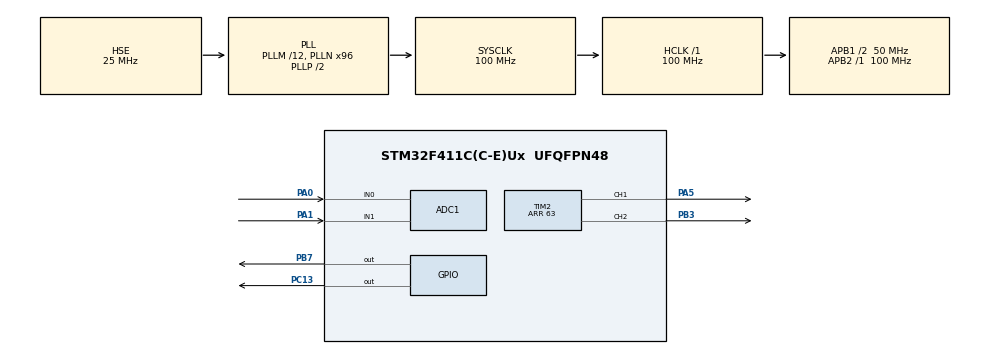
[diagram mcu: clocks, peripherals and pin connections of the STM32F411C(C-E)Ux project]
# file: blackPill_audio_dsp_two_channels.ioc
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ADC1.Channel-0\#ChannelRegularConversion=ADC_CHANNEL_0
ADC1.Channel-1\#ChannelRegularConversion=ADC_CHANNEL_1
ADC1.ContinuousConvMode=DISABLE
ADC1.DMAContinuousRequests=ENABLE
ADC1.EOCSelection=ADC_EOC_SINGLE_CONV
ADC1.ExternalTrigConv=ADC_EXTERNALTRIGCONV_T3_TRGO
ADC1.NbrOfConversion=2
ADC1.NbrOfConversionFlag=1
ADC1.Rank-0\#ChannelRegularConversion=1
ADC1.Rank-1\#ChannelRegularConversion=2
ADC1.SamplingTime-0\#ChannelRegularConversion=ADC_SAMPLETIME_144CYCLES
ADC1.SamplingTime-1\#ChannelRegularConversion=ADC_SAMPLETIME_144CYCLES
ADC1.ScanConvMode=ENABLE
ADC1.master=1
Dma.ADC1.0.Direction=DMA_PERIPH_TO_MEMORY
Dma.ADC1.0.FIFOMode=DMA_FIFOMODE_DISABLE
Dma.ADC1.0.Instance=DMA2_Stream0
Dma.ADC1.0.MemDataAlignment=DMA_MDATAALIGN_HALFWORD
Dma.ADC1.0.MemInc=DMA_MINC_ENABLE
Dma.ADC1.0.Mode=DMA_CIRCULAR
Dma.ADC1.0.PeriphDataAlignment=DMA_PDATAALIGN_HALFWORD
Dma.ADC1.0.PeriphInc=DMA_PINC_DISABLE
Dma.ADC1.0.Priority=DMA_PRIORITY_LOW
Dma.Request0=ADC1
Mcu.Family=STM32F4
Mcu.Name=STM32F411C(C-E)Ux
Mcu.Package=UFQFPN48
NVIC.DMA2_Stream0_IRQn=true\:0\:0\:false\:false\:true\:false\:true\:true
NVIC.PriorityGroup=NVIC_PRIORITYGROUP_4
NVIC.TIM3_IRQn=true\:0\:0\:false\:false\:true\:true\:true\:true
PA0-WKUP.Signal=ADCx_IN0
PA1.Signal=ADCx_IN1
PA13.Mode=Serial_Wire
PA13.Signal=SYS_JTMS-SWDIO
PA14.Mode=Serial_Wire
PA14.Signal=SYS_JTCK-SWCLK
PA3.Signal=ADCx_IN3
PA5.Signal=S_TIM2_CH1_ETR
PB3.Signal=S_TIM2_CH2
PB7.Signal=GPIO_Output
PC13-ANTI_TAMP.Signal=GPIO_Output
PC14-OSC32_IN.Mode=LSE-External-Oscillator
PC14-OSC32_IN.Signal=RCC_OSC32_IN
PC15-OSC32_OUT.Mode=LSE-External-Oscillator
PC15-OSC32_OUT.Signal=RCC_OSC32_OUT
PH0\ -\ OSC_IN.Mode=HSE-External-Oscillator
PH0\ -\ OSC_IN.Signal=RCC_OSC_IN
PH1\ -\ OSC_OUT.Mode=HSE-External-Oscillator
PH1\ -\ OSC_OUT.Signal=RCC_OSC_OUT
ProjectManager.HeapSize=0x200
ProjectManager.StackSize=0x400
ProjectManager.TargetToolchain=STM32CubeIDE
RCC.48MHZClocksFreq_Value=50000000
RCC.AHBFreq_Value=100000000
RCC.APB1CLKDivider=RCC_HCLK_DIV2
RCC.APB1Freq_Value=50000000
RCC.APB1TimFreq_Value=100000000
RCC.APB2Freq_Value=100000000
RCC.APB2TimFreq_Value=100000000
RCC.CortexFreq_Value=100000000
RCC.HCLKFreq_Value=100000000
RCC.HSE_VALUE=25000000
RCC.HSI_VALUE=16000000
RCC.PLLM=12
RCC.PLLN=96
RCC.PLLSourceVirtual=RCC_PLLSOURCE_HSE
RCC.SYSCLKFreq_VALUE=100000000
RCC.SYSCLKSource=RCC_SYSCLKSOURCE_PLLCLK
RCC.VCOOutputFreq_Value=200000000
SH.ADCx_IN0.0=ADC1_IN0,IN0
SH.ADCx_IN1.0=ADC1_IN1,IN1
SH.ADCx_IN3.0=ADC1_IN3
SH.S_TIM2_CH1_ETR.0=TIM2_CH1,PWM Generation1 CH1
SH.S_TIM2_CH2.0=TIM2_CH2,PWM Generation2 CH2
STMicroelectronics.X-CUBE-ALGOBUILD.1.4.0.LibraryCcDSPOoLibraryJjDSPOoLibrary=true
TIM2.Channel-PWM\ Generation1\ CH1=TIM_CHANNEL_1
TIM2.Channel-PWM\ Generation2\ CH2=TIM_CHANNEL_2
TIM2.Period=63
TIM3.Channel-PWM\ Generation1\ No\ Output=TIM_CHANNEL_1
TIM3.Period=999
TIM3.Prescaler=3
TIM3.TIM_MasterOutputTrigger=TIM_TRGO_UPDATE
VP_STMicroelectronics.X-CUBE-ALGOBUILD_VS_DSPOoLibraryJjLibrary_1.4.0_1.4.0.Mode=DSPOoLibraryJjLibrary
VP_TIM2_VS_ClockSourceINT.Mode=Internal
VP_TIM3_VS_ClockSourceINT.Mode=Internal
VP_TIM3_VS_no_output1.Mode=PWM Generation1 No Output
board=custom

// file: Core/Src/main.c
/* USER CODE BEGIN Header */
/**
  ******************************************************************************
  * @file           : main.c
  * @brief          : Main program body
  ******************************************************************************
  * @attention
  *
  * Copyright (c) 2024 STMicroelectronics.
  * All rights reserved.
  *
  * This software is licensed under terms that can be found in the LICENSE file
  * in the root directory of this software component.
  * If no LICENSE file comes with this software, it is provided AS-IS.
  *
  ******************************************************************************
  */
/* USER CODE END Header */
#include "main.h"

/* USER CODE BEGIN Includes */

#include "arm_math.h"
#include <stdbool.h>

/* USER CODE END Includes */

/* USER CODE BEGIN PD */

#define BUFFER_SIZE 128

/* USER CODE END PD */

ADC_HandleTypeDef hadc1;
DMA_HandleTypeDef hdma_adc1;

TIM_HandleTypeDef htim2;
TIM_HandleTypeDef htim3;

/* USER CODE BEGIN PV */

uint16_t adc_buffer[BUFFER_SIZE * 2]; //Factor two because of two ADC channels
uint16_t dac_buffer[BUFFER_SIZE];

static volatile uint16_t dac_curr_sample_pos;

static volatile uint16_t* adc_process_ptr;
static volatile uint16_t* dac_process_ptr;
static volatile bool adc_process;

q15_t filter1_in[BUFFER_SIZE / 2];
q15_t filter1_out[BUFFER_SIZE / 2];

q15_t filter2_in[BUFFER_SIZE / 2];
q15_t filter2_out[BUFFER_SIZE / 2];

/* USER CODE END PV */

void SystemClock_Config(void);
static void MX_GPIO_Init(void);
static void MX_DMA_Init(void);
static void MX_ADC1_Init(void);
static void MX_TIM2_Init(void);
static void MX_TIM3_Init(void);
/* USER CODE BEGIN PFP */

void process_data();
q15_t convert_adc_to_q15(uint16_t input);
uint16_t convert_q15_to_dac(q15_t input);

/* USER CODE END PFP */

int main(void)
{

  /* USER CODE BEGIN 1 */

	//Clearing the buffers
	for(uint16_t i = 0; i < BUFFER_SIZE * 2; i++)
	{
		adc_buffer[i] = 0;
	}

	for(uint16_t i = 0; i < BUFFER_SIZE; i++)
	{
		dac_buffer[i] = 0;
	}

	//Setting position of the DAC's current sample to the beginning of the buffer's lower half
	dac_curr_sample_pos = BUFFER_SIZE / 2;

	//Resetting the flag for processing the ADC buffer
	adc_process = false;

  /* USER CODE END 1 */

  /* MCU Configuration--------------------------------------------------------*/

  /* Reset of all peripherals, Initializes the Flash interface and the Systick. */
  HAL_Init();

  /* Configure the system clock */
  SystemClock_Config();

  /* Initialize all configured peripherals */
  MX_GPIO_Init();
  MX_DMA_Init();
  MX_ADC1_Init();
  MX_TIM2_Init();
  MX_TIM3_Init();
  /* USER CODE BEGIN 2 */

  //Turning off the on-board LED (inverted)
  HAL_GPIO_WritePin(GPIOC, GPIO_PIN_13, 1);

  //Starting ADC1 with DMA
  HAL_ADC_Start_DMA(&hadc1, (uint32_t*) adc_buffer, BUFFER_SIZE * 2);

  //Starting TIM3 (triggering conversions and data transfer) with interrupts
  HAL_TIM_Base_Start_IT(&htim3);

  //Starting TIM2 (PWM generation)
  HAL_TIM_PWM_Start(&htim2, TIM_CHANNEL_1);
  HAL_TIM_PWM_Start(&htim2, TIM_CHANNEL_2);

  /* USER CODE END 2 */

  /* Infinite loop */
  /* USER CODE BEGIN WHILE */
  while (1)
  {
	if(adc_process == true)
	{
		HAL_GPIO_WritePin(GPIOB, GPIO_PIN_7, 1);

		process_data();
		adc_process = false;

		HAL_GPIO_WritePin(GPIOB, GPIO_PIN_7, 0);
	}
    /* USER CODE END WHILE */

  }
}

void SystemClock_Config(void)
{
  RCC_OscInitTypeDef RCC_OscInitStruct = {0};
  RCC_ClkInitTypeDef RCC_ClkInitStruct = {0};

  /** Configure the main internal regulator output voltage
  */
  __HAL_RCC_PWR_CLK_ENABLE();
  __HAL_PWR_VOLTAGESCALING_CONFIG(PWR_REGULATOR_VOLTAGE_SCALE1);

  /** Initializes the RCC Oscillators according to the specified parameters
  * in the RCC_OscInitTypeDef structure.
  */
  RCC_OscInitStruct.OscillatorType = RCC_OSCILLATORTYPE_HSE;
  RCC_OscInitStruct.HSEState = RCC_HSE_ON;
  RCC_OscInitStruct.PLL.PLLState = RCC_PLL_ON;
  RCC_OscInitStruct.PLL.PLLSource = RCC_PLLSOURCE_HSE;
  RCC_OscInitStruct.PLL.PLLM = 12;
  RCC_OscInitStruct.PLL.PLLN = 96;
  RCC_OscInitStruct.PLL.PLLP = RCC_PLLP_DIV2;
  RCC_OscInitStruct.PLL.PLLQ = 4;
  if (HAL_RCC_OscConfig(&RCC_OscInitStruct) != HAL_OK)
  {
    Error_Handler();
  }

  /** Initializes the CPU, AHB and APB buses clocks
  */
  RCC_ClkInitStruct.ClockType = RCC_CLOCKTYPE_HCLK|RCC_CLOCKTYPE_SYSCLK
                              |RCC_CLOCKTYPE_PCLK1|RCC_CLOCKTYPE_PCLK2;
  RCC_ClkInitStruct.SYSCLKSource = RCC_SYSCLKSOURCE_PLLCLK;
  RCC_ClkInitStruct.AHBCLKDivider = RCC_SYSCLK_DIV1;
  RCC_ClkInitStruct.APB1CLKDivider = RCC_HCLK_DIV2;
  RCC_ClkInitStruct.APB2CLKDivider = RCC_HCLK_DIV1;

  if (HAL_RCC_ClockConfig(&RCC_ClkInitStruct, FLASH_LATENCY_3) != HAL_OK)
  {
    Error_Handler();
  }
}

static void MX_ADC1_Init(void)
{

  ADC_ChannelConfTypeDef sConfig = {0};

  /** Configure the global features of the ADC (Clock, Resolution, Data Alignment and number of conversion)
  */
  hadc1.Instance = ADC1;
  hadc1.Init.ClockPrescaler = ADC_CLOCK_SYNC_PCLK_DIV4;
  hadc1.Init.Resolution = ADC_RESOLUTION_12B;
  hadc1.Init.ScanConvMode = ENABLE;
  hadc1.Init.ContinuousConvMode = DISABLE;
  hadc1.Init.DiscontinuousConvMode = DISABLE;
  hadc1.Init.ExternalTrigConvEdge = ADC_EXTERNALTRIGCONVEDGE_RISING;
  hadc1.Init.ExternalTrigConv = ADC_EXTERNALTRIGCONV_T3_TRGO;
  hadc1.Init.DataAlign = ADC_DATAALIGN_RIGHT;
  hadc1.Init.NbrOfConversion = 2;
  hadc1.Init.DMAContinuousRequests = ENABLE;
  hadc1.Init.EOCSelection = ADC_EOC_SINGLE_CONV;
  if (HAL_ADC_Init(&hadc1) != HAL_OK)
  {
    Error_Handler();
  }

  /** Configure for the selected ADC regular channel its corresponding rank in the sequencer and its sample time.
  */
  sConfig.Channel = ADC_CHANNEL_0;
  sConfig.Rank = 1;
  sConfig.SamplingTime = ADC_SAMPLETIME_144CYCLES;
  if (HAL_ADC_ConfigChannel(&hadc1, &sConfig) != HAL_OK)
  {
    Error_Handler();
  }

  /** Configure for the selected ADC regular channel its corresponding rank in the sequencer and its sample time.
  */
  sConfig.Channel = ADC_CHANNEL_1;
  sConfig.Rank = 2;
  if (HAL_ADC_ConfigChannel(&hadc1, &sConfig) != HAL_OK)
  {
    Error_Handler();
  }

}

static void MX_TIM2_Init(void)
{

  TIM_ClockConfigTypeDef sClockSourceConfig = {0};
  TIM_MasterConfigTypeDef sMasterConfig = {0};
  TIM_OC_InitTypeDef sConfigOC = {0};

  htim2.Instance = TIM2;
  htim2.Init.Prescaler = 0;
  htim2.Init.CounterMode = TIM_COUNTERMODE_UP;
  htim2.Init.Period = 63;
  htim2.Init.ClockDivision = TIM_CLOCKDIVISION_DIV1;
  htim2.Init.AutoReloadPreload = TIM_AUTORELOAD_PRELOAD_DISABLE;
  if (HAL_TIM_Base_Init(&htim2) != HAL_OK)
  {
    Error_Handler();
  }
  sClockSourceConfig.ClockSource = TIM_CLOCKSOURCE_INTERNAL;
  if (HAL_TIM_ConfigClockSource(&htim2, &sClockSourceConfig) != HAL_OK)
  {
    Error_Handler();
  }
  if (HAL_TIM_PWM_Init(&htim2) != HAL_OK)
  {
    Error_Handler();
  }
  sMasterConfig.MasterOutputTrigger = TIM_TRGO_RESET;
  sMasterConfig.MasterSlaveMode = TIM_MASTERSLAVEMODE_DISABLE;
  if (HAL_TIMEx_MasterConfigSynchronization(&htim2, &sMasterConfig) != HAL_OK)
  {
    Error_Handler();
  }
  sConfigOC.OCMode = TIM_OCMODE_PWM1;
  sConfigOC.Pulse = 0;
  sConfigOC.OCPolarity = TIM_OCPOLARITY_HIGH;
  sConfigOC.OCFastMode = TIM_OCFAST_DISABLE;
  if (HAL_TIM_PWM_ConfigChannel(&htim2, &sConfigOC, TIM_CHANNEL_1) != HAL_OK)
  {
    Error_Handler();
  }
  if (HAL_TIM_PWM_ConfigChannel(&htim2, &sConfigOC, TIM_CHANNEL_2) != HAL_OK)
  {
    Error_Handler();
  }
  HAL_TIM_MspPostInit(&htim2);

}

static void MX_TIM3_Init(void)
{

  TIM_ClockConfigTypeDef sClockSourceConfig = {0};
  TIM_MasterConfigTypeDef sMasterConfig = {0};
  TIM_OC_InitTypeDef sConfigOC = {0};

  htim3.Instance = TIM3;
  htim3.Init.Prescaler = 3;
  htim3.Init.CounterMode = TIM_COUNTERMODE_UP;
  htim3.Init.Period = 999;
  htim3.Init.ClockDivision = TIM_CLOCKDIVISION_DIV1;
  htim3.Init.AutoReloadPreload = TIM_AUTORELOAD_PRELOAD_DISABLE;
  if (HAL_TIM_Base_Init(&htim3) != HAL_OK)
  {
    Error_Handler();
  }
  sClockSourceConfig.ClockSource = TIM_CLOCKSOURCE_INTERNAL;
  if (HAL_TIM_ConfigClockSource(&htim3, &sClockSourceConfig) != HAL_OK)
  {
    Error_Handler();
  }
  if (HAL_TIM_PWM_Init(&htim3) != HAL_OK)
  {
    Error_Handler();
  }
  sMasterConfig.MasterOutputTrigger = TIM_TRGO_UPDATE;
  sMasterConfig.MasterSlaveMode = TIM_MASTERSLAVEMODE_DISABLE;
  if (HAL_TIMEx_MasterConfigSynchronization(&htim3, &sMasterConfig) != HAL_OK)
  {
    Error_Handler();
  }
  sConfigOC.OCMode = TIM_OCMODE_PWM1;
  sConfigOC.Pulse = 0;
  sConfigOC.OCPolarity = TIM_OCPOLARITY_HIGH;
  sConfigOC.OCFastMode = TIM_OCFAST_DISABLE;
  if (HAL_TIM_PWM_ConfigChannel(&htim3, &sConfigOC, TIM_CHANNEL_1) != HAL_OK)
  {
    Error_Handler();
  }

}

static void MX_DMA_Init(void)
{

  /* DMA controller clock enable */
  __HAL_RCC_DMA2_CLK_ENABLE();

  /* DMA interrupt init */
  /* DMA2_Stream0_IRQn interrupt configuration */
  HAL_NVIC_SetPriority(DMA2_Stream0_IRQn, 0, 0);
  HAL_NVIC_EnableIRQ(DMA2_Stream0_IRQn);

}

static void MX_GPIO_Init(void)
{
  GPIO_InitTypeDef GPIO_InitStruct = {0};

  /* GPIO Ports Clock Enable */
  __HAL_RCC_GPIOC_CLK_ENABLE();
  __HAL_RCC_GPIOH_CLK_ENABLE();
  __HAL_RCC_GPIOA_CLK_ENABLE();
  __HAL_RCC_GPIOB_CLK_ENABLE();

  /*Configure GPIO pin Output Level */
  HAL_GPIO_WritePin(GPIOC, GPIO_PIN_13, GPIO_PIN_RESET);

  /*Configure GPIO pin Output Level */
  HAL_GPIO_WritePin(GPIOB, GPIO_PIN_7, GPIO_PIN_RESET);

  /*Configure GPIO pin : PC13 */
  GPIO_InitStruct.Pin = GPIO_PIN_13;
  GPIO_InitStruct.Mode = GPIO_MODE_OUTPUT_PP;
  GPIO_InitStruct.Pull = GPIO_NOPULL;
  GPIO_InitStruct.Speed = GPIO_SPEED_FREQ_LOW;
  HAL_GPIO_Init(GPIOC, &GPIO_InitStruct);

  /*Configure GPIO pin : PB7 */
  GPIO_InitStruct.Pin = GPIO_PIN_7;
  GPIO_InitStruct.Mode = GPIO_MODE_OUTPUT_PP;
  GPIO_InitStruct.Pull = GPIO_NOPULL;
  GPIO_InitStruct.Speed = GPIO_SPEED_FREQ_LOW;
  HAL_GPIO_Init(GPIOB, &GPIO_InitStruct);

}

/* USER CODE BEGIN 4 */

void HAL_TIM_PeriodElapsedCallback(TIM_HandleTypeDef *htim)
{
	//Checking if the interrupt was caused by TIM3 (triggering conversions and data transfer)
	if (htim->Instance == TIM3)
	{
		//Setting the output sample's upper six bits to CCR1 (channel 1) and the lower six bits to CCR2 (channel 2) of TIM2
		htim2.Instance->CCR1 = (dac_buffer[dac_curr_sample_pos] & 0xFC0) >> 6;
		htim2.Instance->CCR2 = dac_buffer[dac_curr_sample_pos] & 0xF3;

		//Checking if processing of the ADC's samples is needed
		if (dac_curr_sample_pos == BUFFER_SIZE / 2) //Lower half of the ADC's buffer needs to be processed
		{
			//Setting pointers to the upper half of the ADC's and the DAC's buffers
			adc_process_ptr = &adc_buffer[0];
			dac_process_ptr = &dac_buffer[0];

			//Setting the flag that processing is needed
			adc_process = true;
		}
		else if (dac_curr_sample_pos == BUFFER_SIZE - 1) //Upper half of the ADC's buffer needs to be processed
		{
			//Setting pointers to the lower half of the ADC's and DAC's buffers
			adc_process_ptr = &adc_buffer[BUFFER_SIZE];
			dac_process_ptr = &dac_buffer[BUFFER_SIZE / 2];

			//Setting the flag that processing is needed
			adc_process = true;
		}

		//Incrementing the position of the current sample and wrapping around if the buffer's end was reached
		dac_curr_sample_pos++;
		if (dac_curr_sample_pos >= BUFFER_SIZE)
		{
			dac_curr_sample_pos = 0;
		}
	}
}

void process_data()
{
	//Separating the ADC data of the two channels into two input buffers for the filters
	for(uint16_t i = 0; i < BUFFER_SIZE; i += 2)
	{
		filter1_in[i / 2] = convert_adc_to_q15(adc_process_ptr[i]);
		filter2_in[i / 2] = convert_adc_to_q15(adc_process_ptr[i + 1]);
	}

	//Copying the data of one input buffer to the DAC's output buffer to build a passthrough
	for(uint16_t i = 0; i < BUFFER_SIZE / 2; i++)
	{
		dac_process_ptr[i] = convert_q15_to_dac(filter2_in[i]);
	}
}

//Function to convert 12-bit ADC data to q15_t
q15_t convert_adc_to_q15(uint16_t input) {
	return (q15_t)((input << 3) - 32768);
}

//Function to convert q15_t to 12-bit DAC data
uint16_t convert_q15_to_dac(q15_t input) {
	return (uint16_t)((input + 32768) >> 3);
}

/* USER CODE END 4 */

void Error_Handler(void)
{
  __disable_irq();
  while (1)
  {
  }
}
